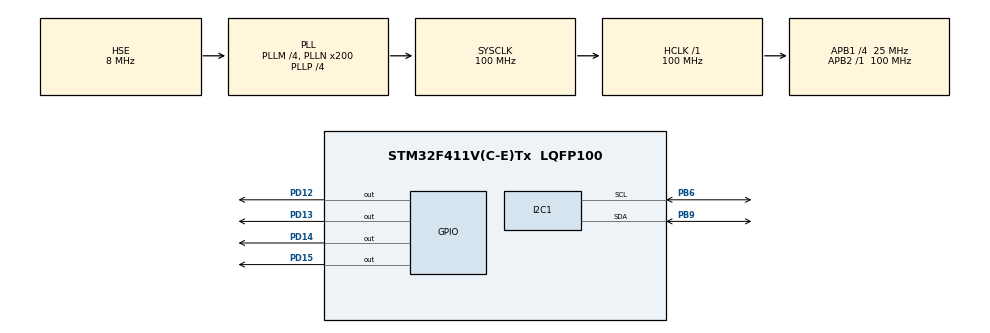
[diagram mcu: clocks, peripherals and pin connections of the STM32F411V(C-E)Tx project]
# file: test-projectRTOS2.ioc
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FREERTOS.Mutexes01=myMutex01,Dynamic,NULL
FREERTOS.Tasks01=defaultTask,2,128,StartDefaultTask,Default,NULL,Dynamic,NULL,NULL;myTask02,-2,128,StartTask02,Default,NULL,Dynamic,NULL,NULL
Mcu.Family=STM32F4
Mcu.Name=STM32F411V(C-E)Tx
Mcu.Package=LQFP100
NVIC.PriorityGroup=NVIC_PRIORITYGROUP_4
NVIC.TIM1_BRK_TIM9_IRQn=true\:0\:0\:false\:false\:true\:false\:false\:true
NVIC.TimeBase=TIM1_BRK_TIM9_IRQn
NVIC.TimeBaseIP=TIM9
PB6.Mode=I2C
PB6.Signal=I2C1_SCL
PB9.Mode=I2C
PB9.Signal=I2C1_SDA
PC14-OSC32_IN.Mode=LSE-External-Oscillator
PC14-OSC32_IN.Signal=RCC_OSC32_IN
PC15-OSC32_OUT.Mode=LSE-External-Oscillator
PC15-OSC32_OUT.Signal=RCC_OSC32_OUT
PD12.Signal=GPIO_Output
PD13.Signal=GPIO_Output
PD14.Signal=GPIO_Output
PD15.Signal=GPIO_Output
PH0\ -\ OSC_IN.Mode=HSE-External-Oscillator
PH0\ -\ OSC_IN.Signal=RCC_OSC_IN
PH1\ -\ OSC_OUT.Mode=HSE-External-Oscillator
PH1\ -\ OSC_OUT.Signal=RCC_OSC_OUT
ProjectManager.HeapSize=0x200
ProjectManager.StackSize=0x400
ProjectManager.TargetToolchain=MDK-ARM V5
RCC.48MHZClocksFreq_Value=100000000
RCC.AHBFreq_Value=100000000
RCC.APB1CLKDivider=RCC_HCLK_DIV4
RCC.APB1Freq_Value=25000000
RCC.APB1TimFreq_Value=50000000
RCC.APB2Freq_Value=100000000
RCC.APB2TimFreq_Value=100000000
RCC.CortexFreq_Value=100000000
RCC.HCLKFreq_Value=100000000
RCC.HSE_VALUE=8000000
RCC.HSI_VALUE=16000000
RCC.PLLM=4
RCC.PLLN=200
RCC.PLLP=RCC_PLLP_DIV4
RCC.PLLSourceVirtual=RCC_PLLSOURCE_HSE
RCC.SYSCLKFreq_VALUE=100000000
RCC.SYSCLKSource=RCC_SYSCLKSOURCE_PLLCLK
RCC.VCOOutputFreq_Value=400000000
VP_FREERTOS_VS_CMSIS_V1.Mode=CMSIS_V1
VP_SYS_VS_tim9.Mode=TIM9
board=custom

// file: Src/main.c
/* USER CODE BEGIN Header */
/**
  ******************************************************************************
  * @file           : main.c
  * @brief          : Main program body
  ******************************************************************************
  * @attention
  *
  * <h2><center>&copy; Copyright (c) 2019 STMicroelectronics.
  * All rights reserved.</center></h2>
  *
  * This software component is licensed by ST under Ultimate Liberty license
  * SLA0044, the "License"; You may not use this file except in compliance with
  * the License. You may obtain a copy of the License at:
  *                             www.st.com/SLA0044
  *
  ******************************************************************************
  */
/* USER CODE END Header */

#include "main.h"
#include "cmsis_os.h"

#include <limits.h>
#include <math.h>
/* USER CODE BEGIN Includes */
//Register
#define LSM303_ACC_ADDRESS (0x19 << 1) // address of accelerometer: 0011 001x
#define LSM303_ACC_CTRL_REG1_A 0x20 // settings register 1
#define LSM303_ACC_CTRL_REG3_A 0x22 // setting register 3
#define LSM303_ACC_Z_H_A 0x2D // higher byte of Z axis data
#define LSM303_ACC_Z_L_A 0x2C // lower byte of Z axis data
#define LSM303_ACC_X_L_A 0x28 // lower byte of X axis data

// to read more data at once
#define LSM303_ACC_Z_L_A_MULTI_READ (LSM303_ACC_Z_L_A | 0x80)

// to read more data at once
#define LSM303_ACC_X_L_A_MULTI_READ (LSM303_ACC_X_L_A | 0x80)

// Bit masks
// CTRL_REG1_A = [ODR3][ODR2][ODR1][ODR0][LPEN][ZEN][YEN][XEN]
#define LSM303_ACC_Z_ENABLE 0x04 // 0000 0100
#define LSM303_ACC_XYZ_ENABLE 0x07 // 0000 0111
#define LSM303_ACC_100HZ 0x50 //0101 0000
#define LSM303_ACC_1HZ 0x10 //0001 0000

// CTRL_REG3_A = [CLICK][AOI1][AOI2][DRDY_1][DRDY_2][WTM][OVERRUN][---]
#define LSM303_ACC_I1_DRDY1 0x10 //0001 0000
#define LSM303_ACC_I1_DRDY2 0x08 //0000 1000

#define LSM303_ACC_RESOLUTION 2.0 // Maximum value of measurable acceleration [g]

// Variables
uint8_t Data[6]; // Variable for direct data reading from the accelerometer
int16_t Xaxis = 0; // Contains a transformed form of data read from the X axis
int16_t Yaxis = 0; // Contains a transformed form of data read from the Y axis
int16_t Zaxis = 0; // Contains a transformed form of data read from the Z axis

float Xaxis_g = 0 ; // Contains the acceleration in the X axis, expanded to physical unit [g]
float Yaxis_g = 0; // Contains the acceleration in the Y axis, expanded to physical unit [g]
float Zaxis_g = 0; // Contains the acceleration in the Z axis, expanded to physical unit [g]

I2C_HandleTypeDef hi2c1;
osThreadId defaultTaskHandle;
osThreadId myTask02Handle;
osMutexId myMutex01Handle;

void SystemClock_Config(void);
static void MX_GPIO_Init(void);
static void MX_I2C1_Init(void);
void StartDefaultTask(void const * argument);
void StartTask02(void const * argument);

int main(void)
{
  /* MCU Configuration--------------------------------------------------------*/

  /* Reset of all peripherals, Initializes the Flash interface and the Systick. */
  HAL_Init();

  /* Configure the system clock */
  SystemClock_Config();

  /* Initialize all configured peripherals */
  MX_GPIO_Init();
  MX_I2C1_Init();

  /* Create the mutex(es) */
  /* definition and creation of myMutex01 */
  osMutexDef(myMutex01);
  myMutex01Handle = osMutexCreate(osMutex(myMutex01));

  /* Create the thread(s) */
  /* definition and creation of defaultTask */
  osThreadDef(defaultTask, StartDefaultTask, osPriorityHigh, 0, 128);
  defaultTaskHandle = osThreadCreate(osThread(defaultTask), NULL);

  /* definition and creation of myTask02 */
  osThreadDef(myTask02, StartTask02, osPriorityLow, 0, 128);
  myTask02Handle = osThreadCreate(osThread(myTask02), NULL);

  /* Start scheduler */
  osKernelStart();

  /* We should never get here as control is now taken by the scheduler */

  /* Infinite loop */
  /* USER CODE BEGIN WHILE */
  while (1)
  {

  }
}

void SystemClock_Config(void)
{
  RCC_OscInitTypeDef RCC_OscInitStruct = {0};
  RCC_ClkInitTypeDef RCC_ClkInitStruct = {0};

  /** Configure the main internal regulator output voltage
  */
  __HAL_RCC_PWR_CLK_ENABLE();
  __HAL_PWR_VOLTAGESCALING_CONFIG(PWR_REGULATOR_VOLTAGE_SCALE1);
  /** Initializes the CPU, AHB and APB busses clocks
  */
  RCC_OscInitStruct.OscillatorType = RCC_OSCILLATORTYPE_HSE;
  RCC_OscInitStruct.HSEState = RCC_HSE_ON;
  RCC_OscInitStruct.PLL.PLLState = RCC_PLL_ON;
  RCC_OscInitStruct.PLL.PLLSource = RCC_PLLSOURCE_HSE;
  RCC_OscInitStruct.PLL.PLLM = 4;
  RCC_OscInitStruct.PLL.PLLN = 200;
  RCC_OscInitStruct.PLL.PLLP = RCC_PLLP_DIV4;
  RCC_OscInitStruct.PLL.PLLQ = 4;
  if (HAL_RCC_OscConfig(&RCC_OscInitStruct) != HAL_OK)
  {
    Error_Handler();
  }
  /** Initializes the CPU, AHB and APB busses clocks
  */
  RCC_ClkInitStruct.ClockType = RCC_CLOCKTYPE_HCLK|RCC_CLOCKTYPE_SYSCLK
                              |RCC_CLOCKTYPE_PCLK1|RCC_CLOCKTYPE_PCLK2;
  RCC_ClkInitStruct.SYSCLKSource = RCC_SYSCLKSOURCE_PLLCLK;
  RCC_ClkInitStruct.AHBCLKDivider = RCC_SYSCLK_DIV1;
  RCC_ClkInitStruct.APB1CLKDivider = RCC_HCLK_DIV4;
  RCC_ClkInitStruct.APB2CLKDivider = RCC_HCLK_DIV1;

  if (HAL_RCC_ClockConfig(&RCC_ClkInitStruct, FLASH_LATENCY_3) != HAL_OK)
  {
    Error_Handler();
  }
}

static void MX_I2C1_Init(void)
{

  hi2c1.Instance = I2C1;
  hi2c1.Init.ClockSpeed = 100000;
  hi2c1.Init.DutyCycle = I2C_DUTYCYCLE_2;
  hi2c1.Init.OwnAddress1 = 0;
  hi2c1.Init.AddressingMode = I2C_ADDRESSINGMODE_7BIT;
  hi2c1.Init.DualAddressMode = I2C_DUALADDRESS_DISABLE;
  hi2c1.Init.OwnAddress2 = 0;
  hi2c1.Init.GeneralCallMode = I2C_GENERALCALL_DISABLE;
  hi2c1.Init.NoStretchMode = I2C_NOSTRETCH_DISABLE;
  if (HAL_I2C_Init(&hi2c1) != HAL_OK)
  {
    Error_Handler();
  }

}

static void MX_GPIO_Init(void)
{
  GPIO_InitTypeDef GPIO_InitStruct = {0};

  /* GPIO Ports Clock Enable */
  __HAL_RCC_GPIOC_CLK_ENABLE();
  __HAL_RCC_GPIOH_CLK_ENABLE();
  __HAL_RCC_GPIOD_CLK_ENABLE();
  __HAL_RCC_GPIOB_CLK_ENABLE();

  /*Configure GPIO pin Output Level */
  HAL_GPIO_WritePin(GPIOD, GPIO_PIN_12|GPIO_PIN_13|GPIO_PIN_14|GPIO_PIN_15, GPIO_PIN_RESET);

  /*Configure GPIO pins : PD12 PD13 PD14 PD15 */
  GPIO_InitStruct.Pin = GPIO_PIN_12|GPIO_PIN_13|GPIO_PIN_14|GPIO_PIN_15;
  GPIO_InitStruct.Mode = GPIO_MODE_OUTPUT_PP;
  GPIO_InitStruct.Pull = GPIO_NOPULL;
  GPIO_InitStruct.Speed = GPIO_SPEED_FREQ_LOW;
  HAL_GPIO_Init(GPIOD, &GPIO_InitStruct);

}

void StartDefaultTask(void const * argument)
{
	float at = 0;

  // Fill the configuration variable with the appropriate options
	uint8_t Settings = LSM303_ACC_XYZ_ENABLE | LSM303_ACC_100HZ;

  // Enter the configuration in the accelerometer register
	HAL_I2C_Mem_Write(&hi2c1, LSM303_ACC_ADDRESS, LSM303_ACC_CTRL_REG1_A, 1, &Settings, 1, 100);

	Settings = LSM303_ACC_I1_DRDY2;
	HAL_I2C_Mem_Write(&hi2c1, LSM303_ACC_ADDRESS, LSM303_ACC_CTRL_REG3_A, 1, &Settings, 1, 100);

  /* USER CODE BEGIN 5 */
  /* Infinite loop */
  for(;;)
  {
		osMutexWait(myMutex01Handle,osWaitForever);

		do {
		// Get 6 bytes of data containing accelerations in 3 axes
		HAL_I2C_Mem_Read(&hi2c1, LSM303_ACC_ADDRESS, LSM303_ACC_X_L_A_MULTI_READ, 1, Data, 6, 100);

		// Convert received data bytes to int16_t type
		Xaxis = ((Data[1] << 8) | Data[0]);
		Yaxis = ((Data[3] << 8) | Data[2]);
		Zaxis = ((Data[5] << 8) | Data[4]);

	  // calculation of acceleration in each axis in the SI unit [g]
		Xaxis_g = ((float) Xaxis * LSM303_ACC_RESOLUTION) / (float) INT16_MAX;
		Yaxis_g = ((float) Yaxis * LSM303_ACC_RESOLUTION) / (float) INT16_MAX;
		Zaxis_g = ((float) Zaxis * LSM303_ACC_RESOLUTION) / (float) INT16_MAX;
    at = sqrt(Xaxis_g*Xaxis_g + Yaxis_g*Yaxis_g + Zaxis_g*Zaxis_g);
		HAL_GPIO_WritePin(GPIOD,GPIO_PIN_12|GPIO_PIN_13|GPIO_PIN_14|GPIO_PIN_15,GPIO_PIN_SET);
    osDelay(500);
		HAL_GPIO_WritePin(GPIOD,GPIO_PIN_12|GPIO_PIN_13|GPIO_PIN_14|GPIO_PIN_15,GPIO_PIN_RESET);
		osDelay(500);
    } while (at > 0.5);	// The sensitivity of the sensor depends on this indicator.

		osMutexRelease(myMutex01Handle);
    osDelay(1);

  }
  /* USER CODE END 5 */
}

void StartTask02(void const * argument)
{
  /* USER CODE BEGIN StartTask02 */
	int i = 0;
  /* Infinite loop */
  for(;;) {
    osMutexWait(myMutex01Handle,osWaitForever );
    for	(i = 0;i < 150;i++) {
		HAL_GPIO_TogglePin(GPIOD,GPIO_PIN_14|GPIO_PIN_13|GPIO_PIN_12|GPIO_PIN_15);
    osDelay(50);
		HAL_GPIO_TogglePin(GPIOD,GPIO_PIN_14|GPIO_PIN_13|GPIO_PIN_12|GPIO_PIN_15);
		osDelay(50);
		}
		if (i == 1000)
			i=0;

		osMutexRelease(myMutex01Handle);
		osDelay(1);
  }
  /* USER CODE END StartTask02 */
}

void HAL_TIM_PeriodElapsedCallback(TIM_HandleTypeDef *htim)
{
  if (htim->Instance == TIM9) {
    HAL_IncTick();
  }
}

void Error_Handler(void)
{
}

/************************ (C) COPYRIGHT STMicroelectronics *****END OF FILE****/
